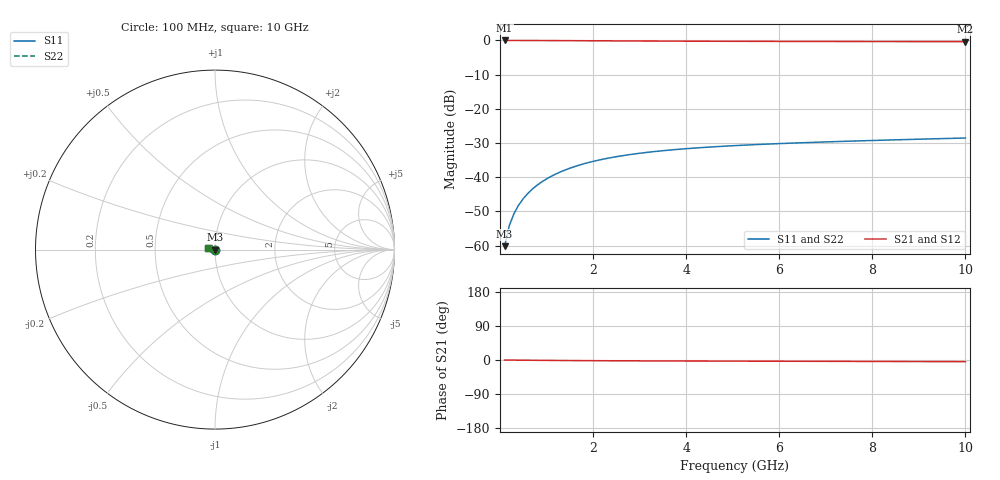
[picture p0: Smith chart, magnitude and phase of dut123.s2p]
! Touchstone file exported from HFSS 2024.1.0
!  File:  C:/UserFiles/LocalFiles/RDL_TSV_Batchsim/temp_TSV1_123_1779379035.aedt
!  Generated:  12:01:35 AM May 22, 2026
!  Design:  TSV1
!  Project:  temp_TSV1_123_1779379035
!  Setup:  Setup1
!  Solution:  Sweep
! Variables:
!  dtsv = 10.23um
!  hbump = 3um
!  htsv = 65.09um
!  lrdl = 252.1521522um
!  p = 40
!  p1 = 56.04um
!  t = 500um
!  trdl = 3um
!  wrdl = 24.89489489um
# GHz S MA R 50.000000
! Terminal data exported
! Port[1] = TSV22_T1
! Port[2] = TSV22_T2
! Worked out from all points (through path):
!   100 points, 100 MHz to 10 GHz, reference 50 ohm
!   highest |S21| = 0.00 dB at 100 MHz (marker M1); lowest = -0.3 dB at 10 GHz (marker M2)
!   lowest |S11| = -60.2 dB at 100 MHz (marker M3), VSWR 1.00, Z = 50 - j0.0979 ohm
!   |S11| at or under -10 dB: start of sweep to end of sweep
!   |S22| runs from -60.2 to -28.5 dB; largest |S21 - S12| = 5.3e-15
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0.1  0.0009822 -84.9  0.9998 -0.1  0.9998 -0.1  0.0009822 -84.9
! Gamma 0 0 0 0
! Port Impedance 50 0 50 0
0.2  0.001955 -90.4  0.9997 -0.2  0.9997 -0.2  0.001955 -90.4
0.3  0.002929 -93.5  0.9995 -0.3  0.9995 -0.3  0.002929 -93.5
0.4  0.003898 -96.1  0.9993 -0.4  0.9993 -0.4  0.003898 -96.1
0.5  0.004859 -98.5  0.9989 -0.5  0.9989 -0.5  0.004859 -98.5
0.6  0.005809 -100.8  0.9986 -0.6  0.9986 -0.6  0.005809 -100.8
0.7  0.006745 -103.0  0.9981 -0.7  0.9981 -0.7  0.006745 -103.0
0.8  0.007664 -105.1  0.9976 -0.8  0.9976 -0.8  0.007664 -105.1
0.9  0.008566 -107.2  0.9971 -0.9  0.9971 -0.9  0.008566 -107.2
1.1  0.01031 -111.2  0.9959 -1.1  0.9959 -1.1  0.01031 -111.2
1.4  0.01276 -116.9  0.9938 -1.3  0.9938 -1.3  0.01276 -116.9
1.6  0.01428 -120.5  0.9924 -1.5  0.9924 -1.5  0.01428 -120.5
1.8  0.01571 -124.0  0.9908 -1.6  0.9908 -1.6  0.01571 -124.0
2.1  0.01767 -128.9  0.9885 -1.8  0.9885 -1.8  0.01767 -128.9
2.5  0.01997 -134.9  0.9855 -2.1  0.9855 -2.1  0.01997 -134.9
2.9  0.02195 -140.5  0.9826 -2.2  0.9826 -2.2  0.02195 -140.5
3.4  0.02406 -146.7  0.9794 -2.4  0.9794 -2.4  0.02406 -146.7
4.2  0.02676 -155.4  0.9751 -2.7  0.9751 -2.7  0.02676 -155.4
5.1  0.02912 -163.7  0.9713 -3.0  0.9713 -3.0  0.02911 -163.7
6.7  0.03232 -175.7  0.9666 -3.4  0.9666 -3.4  0.03232 -175.7
8.4  0.03508 174.1  0.9634 -3.9  0.9634 -3.9  0.03508 174.1
10  0.03745 166.1  0.9614 -4.4  0.9614 -4.4  0.03744 166.1
